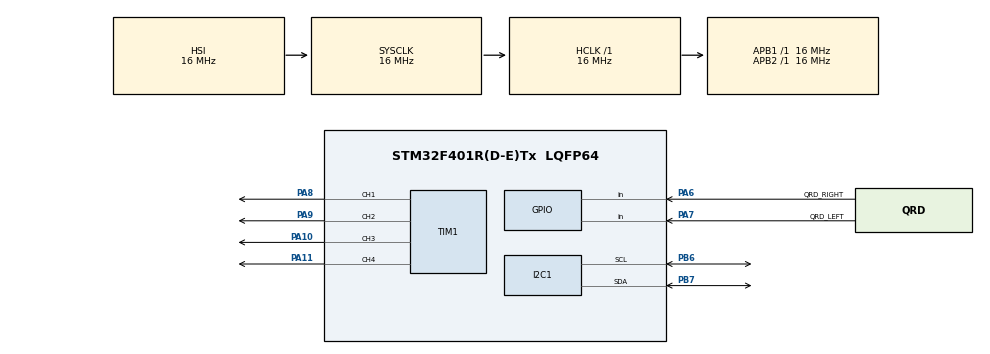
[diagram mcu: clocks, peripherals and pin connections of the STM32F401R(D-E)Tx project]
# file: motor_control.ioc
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Mcu.Family=STM32F4
Mcu.Name=STM32F401R(D-E)Tx
Mcu.Package=LQFP64
NVIC.PriorityGroup=NVIC_PRIORITYGROUP_4
PA10.Signal=S_TIM1_CH3
PA11.Signal=S_TIM1_CH4
PA6.GPIO_Label=QRD_RIGHT
PA6.GPIO_PuPd=GPIO_PULLUP
PA6.Signal=GPIO_Input
PA7.GPIO_Label=QRD_LEFT
PA7.GPIO_PuPd=GPIO_PULLUP
PA7.Signal=GPIO_Input
PA8.GPIO_PuPd=GPIO_NOPULL
PA8.Signal=S_TIM1_CH1
PA9.Signal=S_TIM1_CH2
PB6.Mode=I2C
PB6.Signal=I2C1_SCL
PB7.Mode=I2C
PB7.Signal=I2C1_SDA
ProjectManager.HeapSize=0x200
ProjectManager.StackSize=0x400
ProjectManager.TargetToolchain=Makefile
RCC.AHBFreq_Value=16000000
RCC.APB1Freq_Value=16000000
RCC.APB2Freq_Value=16000000
RCC.CortexFreq_Value=16000000
RCC.HSE_VALUE=25000000
RCC.HSI_VALUE=16000000
RCC.LSE_VALUE=32768
RCC.SYSCLKFreq_VALUE=16000000
RCC.VCOOutputFreq_Value=192000000
SH.S_TIM1_CH1.0=TIM1_CH1,PWM Generation1 CH1
SH.S_TIM1_CH2.0=TIM1_CH2,PWM Generation2 CH2
SH.S_TIM1_CH3.0=TIM1_CH3,PWM Generation3 CH3
SH.S_TIM1_CH4.0=TIM1_CH4,PWM Generation4 CH4
TIM1.Channel-PWM\ Generation1\ CH1=TIM_CHANNEL_1
TIM1.Channel-PWM\ Generation2\ CH2=TIM_CHANNEL_2
TIM1.Channel-PWM\ Generation3\ CH3=TIM_CHANNEL_3
TIM1.Channel-PWM\ Generation4\ CH4=TIM_CHANNEL_4
VP_TIM1_VS_ClockSourceINT.Mode=Internal
board=custom

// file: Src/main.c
/**
 ******************************************************************************
 * @file           : main.c
 * @brief          : Main program body
 ******************************************************************************
 ** This notice applies to any and all portions of this file
 * that are not between comment pairs USER CODE BEGIN and
 * USER CODE END. Other portions of this file, whether
 * inserted by the user or by software development tools
 * are owned by their respective copyright owners.
 *
 * COPYRIGHT(c) 2018 STMicroelectronics
 *
 * Redistribution and use in source and binary forms, with or without modification,
 * are permitted provided that the following conditions are met:
 *   1. Redistributions of source code must retain the above copyright notice,
 *      this list of conditions and the following disclaimer.
 *   2. Redistributions in binary form must reproduce the above copyright notice,
 *      this list of conditions and the following disclaimer in the documentation
 *      and/or other materials provided with the distribution.
 *   3. Neither the name of STMicroelectronics nor the names of its contributors
 *      may be used to endorse or promote products derived from this software
 *      without specific prior written permission.
 *
 * THIS SOFTWARE IS PROVIDED BY THE COPYRIGHT HOLDERS AND CONTRIBUTORS "AS IS"
 * AND ANY EXPRESS OR IMPLIED WARRANTIES, INCLUDING, BUT NOT LIMITED TO, THE
 * IMPLIED WARRANTIES OF MERCHANTABILITY AND FITNESS FOR A PARTICULAR PURPOSE ARE
 * DISCLAIMED. IN NO EVENT SHALL THE COPYRIGHT HOLDER OR CONTRIBUTORS BE LIABLE
 * FOR ANY DIRECT, INDIRECT, INCIDENTAL, SPECIAL, EXEMPLARY, OR CONSEQUENTIAL
 * DAMAGES (INCLUDING, BUT NOT LIMITED TO, PROCUREMENT OF SUBSTITUTE GOODS OR
 * SERVICES; LOSS OF USE, DATA, OR PROFITS; OR BUSINESS INTERRUPTION) HOWEVER
 * CAUSED AND ON ANY THEORY OF LIABILITY, WHETHER IN CONTRACT, STRICT LIABILITY,
 * OR TORT (INCLUDING NEGLIGENCE OR OTHERWISE) ARISING IN ANY WAY OUT OF THE USE
 * OF THIS SOFTWARE, EVEN IF ADVISED OF THE POSSIBILITY OF SUCH DAMAGE.
 *
 ******************************************************************************
 */
#include "main.h"
#include "stm32f4xx_hal.h"

/* USER CODE BEGIN Includes */
#include "fonts.h"
#include "ssd1306.h"
/* USER CODE END Includes */

I2C_HandleTypeDef hi2c1;

TIM_HandleTypeDef htim1;

/* USER CODE BEGIN PV */
/* Private variables ---------------------------------------------------------*/
#define MOTOR_SPEED 100
#define MOTOR_LEFT_FORWARD TIM_CHANNEL_1
#define MOTOR_LEFT_BACKWARD TIM_CHANNEL_2
#define MOTOR_RIGHT_FORWARD TIM_CHANNEL_3
#define MOTOR_RIGHT_BACKWARD TIM_CHANNEL_4
/* USER CODE END PV */

void SystemClock_Config(void);
static void MX_GPIO_Init(void);
static void MX_I2C1_Init(void);
static void MX_TIM1_Init(void);

void HAL_TIM_MspPostInit(TIM_HandleTypeDef *htim);

/* USER CODE BEGIN PFP */
/* Private function prototypes -----------------------------------------------*/
void print(char* msg);

/* USER CODE END PFP */

int main(void)
{

    /* MCU Configuration----------------------------------------------------------*/

    /* Reset of all peripherals, Initializes the Flash interface and the Systick. */
    HAL_Init();

    /* Configure the system clock */
    SystemClock_Config();

    /* Initialize all configured peripherals */
    MX_GPIO_Init();
    MX_I2C1_Init();
    MX_TIM1_Init();
    ssd1306_Init();
    /* USER CODE BEGIN 2 */
    print("Starting...");
    HAL_TIM_PWM_Start(&htim1, MOTOR_RIGHT_FORWARD);
    HAL_TIM_PWM_Start(&htim1, MOTOR_RIGHT_BACKWARD);
    HAL_TIM_PWM_Start(&htim1, MOTOR_LEFT_FORWARD);
    HAL_TIM_PWM_Start(&htim1, MOTOR_LEFT_BACKWARD);
    //forward
    print("L 0.7 R 0.7");
    __HAL_TIM_SetCompare(&htim1, MOTOR_LEFT_FORWARD, 0.7*MOTOR_SPEED);
    __HAL_TIM_SetCompare(&htim1, MOTOR_RIGHT_FORWARD, 0.7*MOTOR_SPEED);
    HAL_Delay(5000);
    //backward
    print("L -0.7 R -0.7");
    __HAL_TIM_SetCompare(&htim1, MOTOR_LEFT_FORWARD, 0*MOTOR_SPEED);
    __HAL_TIM_SetCompare(&htim1, MOTOR_RIGHT_FORWARD, 0*MOTOR_SPEED);
    __HAL_TIM_SetCompare(&htim1, MOTOR_RIGHT_BACKWARD, 0.7*MOTOR_SPEED);
    __HAL_TIM_SetCompare(&htim1, MOTOR_LEFT_BACKWARD, 0.7*MOTOR_SPEED);
    HAL_Delay(5000);
    //turn
    print("L 0.9 R -0.7");
    __HAL_TIM_SetCompare(&htim1, MOTOR_LEFT_BACKWARD, 0*MOTOR_SPEED);
    __HAL_TIM_SetCompare(&htim1, MOTOR_RIGHT_FORWARD, 0*MOTOR_SPEED);
    __HAL_TIM_SetCompare(&htim1, MOTOR_RIGHT_BACKWARD, 0.7*MOTOR_SPEED);
    __HAL_TIM_SetCompare(&htim1, MOTOR_LEFT_FORWARD, 0.9*MOTOR_SPEED);
    HAL_Delay(5000);
    //spin
    __HAL_TIM_SetCompare(&htim1, MOTOR_LEFT_FORWARD, 0.9*MOTOR_SPEED);
    __HAL_TIM_SetCompare(&htim1, MOTOR_RIGHT_FORWARD, 0*MOTOR_SPEED);
    __HAL_TIM_SetCompare(&htim1, MOTOR_RIGHT_BACKWARD, 0.9*MOTOR_SPEED);
    __HAL_TIM_SetCompare(&htim1, MOTOR_LEFT_BACKWARD, 0*MOTOR_SPEED);
    HAL_Delay(5000);

    int i=0;
    __HAL_TIM_SetCompare(&htim1, MOTOR_LEFT_BACKWARD, 0*MOTOR_SPEED);
    __HAL_TIM_SetCompare(&htim1, MOTOR_RIGHT_BACKWARD, 0*MOTOR_SPEED);
    print("Go boy");
    /* USER CODE END 2 */

    /* Infinite loop */
    /* USER CODE BEGIN WHILE */
    while (1)
    {
        if(i<=MOTOR_SPEED){
            __HAL_TIM_SetCompare(&htim1, MOTOR_RIGHT_FORWARD, i);
            __HAL_TIM_SetCompare(&htim1, MOTOR_LEFT_FORWARD, i);
            HAL_Delay(500);
            i++;
        }
        /* USER CODE END WHILE */

    }

}

void SystemClock_Config(void)
{

    RCC_OscInitTypeDef RCC_OscInitStruct;
    RCC_ClkInitTypeDef RCC_ClkInitStruct;

    /**Configure the main internal regulator output voltage
    */
    __HAL_RCC_PWR_CLK_ENABLE();

    __HAL_PWR_VOLTAGESCALING_CONFIG(PWR_REGULATOR_VOLTAGE_SCALE2);

    /**Initializes the CPU, AHB and APB busses clocks
    */
    RCC_OscInitStruct.OscillatorType = RCC_OSCILLATORTYPE_HSI;
    RCC_OscInitStruct.HSIState = RCC_HSI_ON;
    RCC_OscInitStruct.HSICalibrationValue = 16;
    RCC_OscInitStruct.PLL.PLLState = RCC_PLL_NONE;
    if (HAL_RCC_OscConfig(&RCC_OscInitStruct) != HAL_OK)
    {
        _Error_Handler(__FILE__, __LINE__);
    }

    /**Initializes the CPU, AHB and APB busses clocks
    */
    RCC_ClkInitStruct.ClockType = RCC_CLOCKTYPE_HCLK|RCC_CLOCKTYPE_SYSCLK
        |RCC_CLOCKTYPE_PCLK1|RCC_CLOCKTYPE_PCLK2;
    RCC_ClkInitStruct.SYSCLKSource = RCC_SYSCLKSOURCE_HSI;
    RCC_ClkInitStruct.AHBCLKDivider = RCC_SYSCLK_DIV1;
    RCC_ClkInitStruct.APB1CLKDivider = RCC_HCLK_DIV1;
    RCC_ClkInitStruct.APB2CLKDivider = RCC_HCLK_DIV1;

    if (HAL_RCC_ClockConfig(&RCC_ClkInitStruct, FLASH_LATENCY_0) != HAL_OK)
    {
        _Error_Handler(__FILE__, __LINE__);
    }

    /**Configure the Systick interrupt time
    */
    HAL_SYSTICK_Config(HAL_RCC_GetHCLKFreq()/1000);

    /**Configure the Systick
    */
    HAL_SYSTICK_CLKSourceConfig(SYSTICK_CLKSOURCE_HCLK);

    /* SysTick_IRQn interrupt configuration */
    HAL_NVIC_SetPriority(SysTick_IRQn, 0, 0);
}

/* I2C1 init function */
static void MX_I2C1_Init(void)
{

    hi2c1.Instance = I2C1;
    hi2c1.Init.ClockSpeed = 100000;
    hi2c1.Init.DutyCycle = I2C_DUTYCYCLE_2;
    hi2c1.Init.OwnAddress1 = 0;
    hi2c1.Init.AddressingMode = I2C_ADDRESSINGMODE_7BIT;
    hi2c1.Init.DualAddressMode = I2C_DUALADDRESS_DISABLE;
    hi2c1.Init.OwnAddress2 = 0;
    hi2c1.Init.GeneralCallMode = I2C_GENERALCALL_DISABLE;
    hi2c1.Init.NoStretchMode = I2C_NOSTRETCH_DISABLE;
    if (HAL_I2C_Init(&hi2c1) != HAL_OK)
    {
        _Error_Handler(__FILE__, __LINE__);
    }

}

/* TIM1 init function */
static void MX_TIM1_Init(void)
{

    TIM_ClockConfigTypeDef sClockSourceConfig;
    TIM_MasterConfigTypeDef sMasterConfig;
    TIM_OC_InitTypeDef sConfigOC;
    TIM_BreakDeadTimeConfigTypeDef sBreakDeadTimeConfig;

    htim1.Instance = TIM1;
    htim1.Init.Prescaler = 0;
    htim1.Init.CounterMode = TIM_COUNTERMODE_UP;
    htim1.Init.Period = MOTOR_SPEED;
    htim1.Init.ClockDivision = TIM_CLOCKDIVISION_DIV1;
    htim1.Init.RepetitionCounter = 0;
    if (HAL_TIM_Base_Init(&htim1) != HAL_OK)
    {
        _Error_Handler(__FILE__, __LINE__);
    }

    sClockSourceConfig.ClockSource = TIM_CLOCKSOURCE_INTERNAL;
    if (HAL_TIM_ConfigClockSource(&htim1, &sClockSourceConfig) != HAL_OK)
    {
        _Error_Handler(__FILE__, __LINE__);
    }

    if (HAL_TIM_PWM_Init(&htim1) != HAL_OK)
    {
        _Error_Handler(__FILE__, __LINE__);
    }

    sMasterConfig.MasterOutputTrigger = TIM_TRGO_RESET;
    sMasterConfig.MasterSlaveMode = TIM_MASTERSLAVEMODE_DISABLE;
    if (HAL_TIMEx_MasterConfigSynchronization(&htim1, &sMasterConfig) != HAL_OK)
    {
        _Error_Handler(__FILE__, __LINE__);
    }

    sConfigOC.OCMode = TIM_OCMODE_PWM1;
    sConfigOC.Pulse = 0;
    sConfigOC.OCPolarity = TIM_OCPOLARITY_HIGH;
    sConfigOC.OCNPolarity = TIM_OCNPOLARITY_HIGH;
    sConfigOC.OCFastMode = TIM_OCFAST_DISABLE;
    sConfigOC.OCIdleState = TIM_OCIDLESTATE_RESET;
    sConfigOC.OCNIdleState = TIM_OCNIDLESTATE_RESET;
    if (HAL_TIM_PWM_ConfigChannel(&htim1, &sConfigOC, TIM_CHANNEL_1) != HAL_OK)
    {
        _Error_Handler(__FILE__, __LINE__);
    }

    if (HAL_TIM_PWM_ConfigChannel(&htim1, &sConfigOC, TIM_CHANNEL_2) != HAL_OK)
    {
        _Error_Handler(__FILE__, __LINE__);
    }

    if (HAL_TIM_PWM_ConfigChannel(&htim1, &sConfigOC, TIM_CHANNEL_3) != HAL_OK)
    {
        _Error_Handler(__FILE__, __LINE__);
    }

    if (HAL_TIM_PWM_ConfigChannel(&htim1, &sConfigOC, TIM_CHANNEL_4) != HAL_OK)
    {
        _Error_Handler(__FILE__, __LINE__);
    }

    sBreakDeadTimeConfig.OffStateRunMode = TIM_OSSR_DISABLE;
    sBreakDeadTimeConfig.OffStateIDLEMode = TIM_OSSI_DISABLE;
    sBreakDeadTimeConfig.LockLevel = TIM_LOCKLEVEL_OFF;
    sBreakDeadTimeConfig.DeadTime = 0;
    sBreakDeadTimeConfig.BreakState = TIM_BREAK_DISABLE;
    sBreakDeadTimeConfig.BreakPolarity = TIM_BREAKPOLARITY_HIGH;
    sBreakDeadTimeConfig.AutomaticOutput = TIM_AUTOMATICOUTPUT_DISABLE;
    if (HAL_TIMEx_ConfigBreakDeadTime(&htim1, &sBreakDeadTimeConfig) != HAL_OK)
    {
        _Error_Handler(__FILE__, __LINE__);
    }

    HAL_TIM_MspPostInit(&htim1);

}

/** Configure pins as
 * Analog
 * Input
 * Output
 * EVENT_OUT
 * EXTI
 */
static void MX_GPIO_Init(void)
{

    GPIO_InitTypeDef GPIO_InitStruct;

    /* GPIO Ports Clock Enable */
    __HAL_RCC_GPIOA_CLK_ENABLE();
    __HAL_RCC_GPIOB_CLK_ENABLE();

    /*Configure GPIO pins : QRD_RIGHT_Pin QRD_LEFT_Pin */
    GPIO_InitStruct.Pin = QRD_RIGHT_Pin|QRD_LEFT_Pin;
    GPIO_InitStruct.Mode = GPIO_MODE_INPUT;
    GPIO_InitStruct.Pull = GPIO_PULLUP;
    HAL_GPIO_Init(GPIOA, &GPIO_InitStruct);

}

/* USER CODE BEGIN 4 */
void print(char* msg){
    ssd1306_Fill(Black);
    ssd1306_UpdateScreen();
    ssd1306_SetCursor(0,0);
    ssd1306_WriteString(msg,Font_11x18,White);
    ssd1306_UpdateScreen();
}

/* USER CODE END 4 */

void _Error_Handler(char *file, int line)
{
    while(1)
    {
    }
}

/************************ (C) COPYRIGHT STMicroelectronics *****END OF FILE****/
